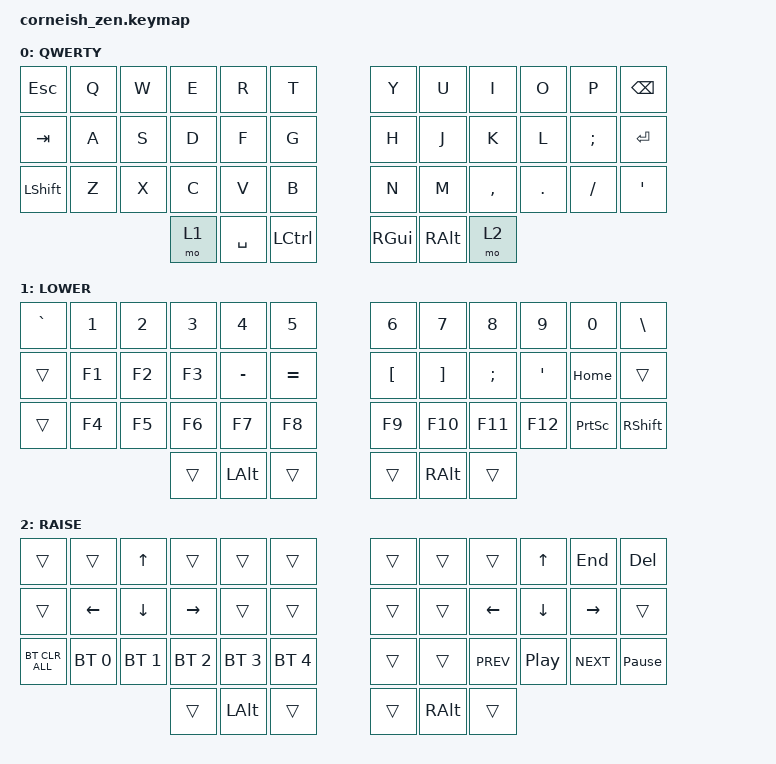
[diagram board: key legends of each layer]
/*
*
* Copyright (c) 2021 Darryl deHaan
* SPDX-License-Identifier: MIT
*
*/

#include <behaviors.dtsi>
#include <dt-bindings/zmk/keys.h>
#include <dt-bindings/zmk/bt.h>

&kscan0 {
    debounce-press-ms = <12>;
    debounce-release-ms = <12>;
};
		
/ {
        keymap {
                compatible = "zmk,keymap";

                default_layer {
                        label = "QWERTY";
// -----------------------------------------------------------------------------------------
// |  ESC |  Q  |  W  |  E  |  R  |  T  |   |  Y  |  U   |  I  |  O  |  P  | BKSP |
// |  TAB |  A  |  S  |  D  |  F  |  G  |   |  H  |  J   |  K  |  L  |  ;  | ENT  |
// | SHFT |  Z  |  X  |  C  |  V  |  B  |   |  N  |  M   |  ,  |  .  |  /  |  '   |
//                    | LWR | SPC | CTRL|   | GUI |  ALT | RSE |
                        bindings = <
   &kp ESC   &kp Q &kp W &kp E &kp R &kp T   &kp Y &kp U  &kp I     &kp O   &kp P    &kp BSPC
   &kp TAB   &kp A &kp S &kp D &kp F &kp G   &kp H &kp J  &kp K     &kp L   &kp SEMI &kp RET
   &kp LSHFT &kp Z &kp X &kp C &kp V &kp B   &kp N &kp M  &kp COMMA &kp DOT &kp FSLH &kp SQT
                 &mo 1 &kp SPACE &kp LCTRL   &kp RGUI &kp RALT &mo 2
                        >;
                };
                lower_layer {
                        label = "LOWER";
// -----------------------------------------------------------------------------------------
// |    ` |  1  |  2  |  3  |  4  |  5  |   |  6  |  7  |  8  |  9  |  0  |  \   |
// |      | F1  | F2  | F3  |  -  |  =  |   |LBKT |RBKT |SEMI |APOS |HOME |      |
// |      | F4  | F5  | F6  | F7  | F8  |   | F9  | F10 | F11 | F12 |PSCRN| RSHFT|
//                    |     | ALT |     |   |     | ALT |     |
                        bindings = <
   &kp GRAVE &kp N1 &kp N2 &kp N3 &kp N4    &kp N5      &kp N6   &kp N7   &kp N8   &kp N9   &kp N0    &kp BSLH
   &trans    &kp F1 &kp F2 &kp F3 &kp MINUS &kp EQUAL   &kp LBKT &kp RBKT &kp SEMI &kp APOS &kp HOME  &trans
   &trans    &kp F4 &kp F5 &kp F6 &kp F7    &kp F8      &kp F9   &kp F10  &kp F11  &kp F12  &kp PSCRN &kp RSHFT
	                        &trans &kp LALT &trans      &trans &kp RALT &trans
                        >;
                };

                raise_layer {
                        label = "RAISE";
// -----------------------------------------------------------------------------------------
// |      |     |  UP |     |     |     |   |     |     |     |  UP | END | DEL  |
// |      | LFT | DWN | RGT |     |     |   |     |     | LFT | DWN | RGT |      |
// | BTCLR| BT1 | BT2 | BT3 | BT4 | BT5 |   |     |     |PREV |PLAY |NEXT | P/B  |
//                    |     | ALT |     |   |     | ALT |     |
                        bindings = <
   &trans &trans   &kp UP   &trans &trans &trans                                 &trans   &trans   &trans     &kp UP   &kp END    &kp DEL
   &trans &kp LEFT &kp DOWN &kp RIGHT &trans &trans                              &trans   &trans   &kp LEFT   &kp DOWN &kp RIGHT  &trans
   &bt BT_CLR_ALL &bt BT_SEL 0 &bt BT_SEL 1 &bt BT_SEL 2 &bt BT_SEL 3 &bt BT_SEL 4   &trans   &trans   &kp C_PREV &kp C_PP &kp C_NEXT &kp PAUSE_BREAK
	                       &trans &kp LALT &trans                                &trans &kp RALT &trans
                        >;
                };
        };
};
